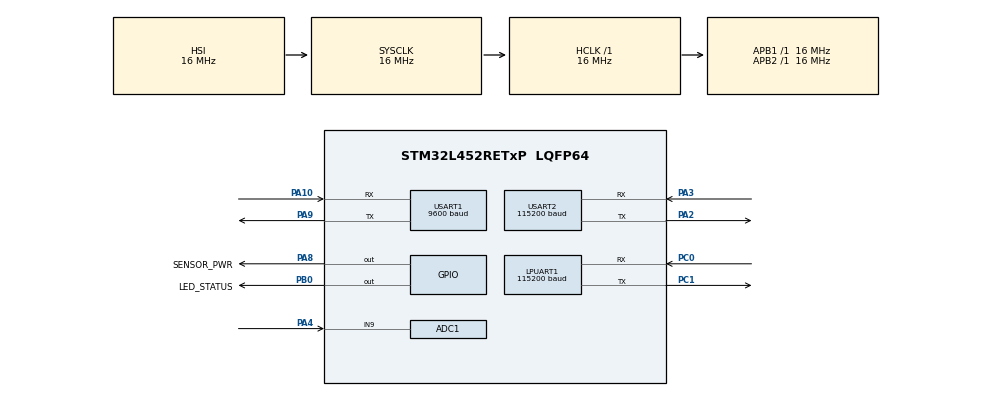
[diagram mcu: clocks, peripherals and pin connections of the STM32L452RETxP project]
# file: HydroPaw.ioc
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ADC1.Channel-1\#ChannelRegularConversion=ADC_CHANNEL_9
ADC1.NbrOfConversionFlag=1
ADC1.OffsetNumber-1\#ChannelRegularConversion=ADC_OFFSET_NONE
ADC1.Rank-1\#ChannelRegularConversion=1
ADC1.SamplingTime-1\#ChannelRegularConversion=ADC_SAMPLETIME_2CYCLES_5
ADC1.master=1
IWDG.Prescaler=IWDG_PRESCALER_64
IWDG.Reload=4095
LPUART1.BaudRate=115200
Mcu.Family=STM32L4
Mcu.Name=STM32L452RETxP
Mcu.Package=LQFP64
NVIC.PriorityGroup=NVIC_PRIORITYGROUP_4
NVIC.USART1_IRQn=true\:5\:0\:true\:false\:true\:true\:true\:true
NVIC.USART2_IRQn=true\:5\:0\:true\:false\:true\:true\:true\:true
PA10.Mode=Asynchronous
PA10.Signal=USART1_RX
PA2.Mode=Asynchronous
PA2.Signal=USART2_TX
PA3.Mode=Asynchronous
PA3.Signal=USART2_RX
PA4.Signal=ADCx_IN9
PA8.GPIO_Label=SENSOR_PWR
PA8.Signal=GPIO_Output
PA9.Mode=Asynchronous
PA9.Signal=USART1_TX
PB0.GPIO_Label=LED_STATUS
PB0.Signal=GPIO_Output
PC0.Mode=Asynchronous
PC0.Signal=LPUART1_RX
PC1.Mode=Asynchronous
PC1.Signal=LPUART1_TX
PC14-OSC32_IN\ (PC14).Mode=LSE-External-Oscillator
PC14-OSC32_IN\ (PC14).Signal=RCC_OSC32_IN
PC15-OSC32_OUT\ (PC15).Mode=LSE-External-Oscillator
PC15-OSC32_OUT\ (PC15).Signal=RCC_OSC32_OUT
ProjectManager.HeapSize=0x400
ProjectManager.StackSize=0x800
ProjectManager.TargetToolchain=STM32CubeIDE
RCC.AHBFreq_Value=16000000
RCC.APB1Freq_Value=16000000
RCC.APB1TimFreq_Value=16000000
RCC.APB2Freq_Value=16000000
RCC.APB2TimFreq_Value=16000000
RCC.CortexFreq_Value=16000000
RCC.HCLKFreq_Value=16000000
RCC.HSE_VALUE=8000000
RCC.HSI48_VALUE=48000000
RCC.HSI_VALUE=16000000
RCC.MSI_VALUE=4000000
RCC.SYSCLKFreq_VALUE=16000000
RCC.SYSCLKSource=RCC_SYSCLKSOURCE_HSI
RCC.USART2CLockSelection=RCC_USART2CLKSOURCE_HSI
RCC.VCOOutputFreq_Value=32000000
SH.ADCx_IN9.0=ADC1_IN9,IN9-Single-Ended
USART1.BaudRate=9600
USART1.VirtualMode-Asynchronous=VM_ASYNC
USART2.BaudRate=115200
USART2.VirtualMode-Asynchronous=VM_ASYNC
USART2.WakeUpMethod=UART_WAKEUPMETHOD_IDLELINE
VP_IWDG_VS_IWDG.Mode=IWDG_Activate
board=custom

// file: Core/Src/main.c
/* USER CODE BEGIN Header */
/**
  ******************************************************************************
  * @file           : main.c
  * @brief          : Main program body
  ******************************************************************************
  * HydroPaw ファームウェア エントリポイント。
  * CubeMX生成の初期化 + USER CODEセクションでアプリ層(App/)を駆動する。
  *
  * データフロー:
  *   USART1 RX ISR → rb_sensor → dgs2_feed → sm_on_sensor_line
  *   USART2 RX ISR → rb_ble    → ble_link_feed → sm_on_frame
  *   main loop     → sm_tick / IWDG refresh / STOP2移行
  *
  * CubeMXで再生成しても、アプリコードはすべてUSER CODEセクション内に
  * あるため保持される(Project Manager: Keep User Code = Yes)。
  ******************************************************************************
  */
/* USER CODE END Header */
#include "main.h"

/* USER CODE BEGIN Includes */
#include "app_config.h"
#include "ring_buffer.h"
#include "dgs2.h"
#include "ble_link.h"
#include "state_machine.h"
#include "power.h"
#include "log.h"
#include "bgapi.h"
/* USER CODE END Includes */

ADC_HandleTypeDef hadc1;

IWDG_HandleTypeDef hiwdg;

UART_HandleTypeDef hlpuart1;
UART_HandleTypeDef huart1;
UART_HandleTypeDef huart2;

/* USER CODE BEGIN PV */
static uint8_t       sensor_storage[256];
static uint8_t       ble_storage[256];
static ring_buffer_t rb_sensor;
static ring_buffer_t rb_ble;
static uint8_t       rx_byte_sensor;
static uint8_t       rx_byte_ble;

static dgs2_t     g_sensor;
static ble_link_t g_link;
static sm_t       g_sm;

/* AC02(BLE)用UART4 — USER CODEで管理 (docs/15追補・リワーク後の最終形)
 * リワーク後: DGS2はD8/D9(USART1)へ、A1/A2(UART4)はAC02専用。
 * AC02はBGAPI@9600bps(公式サンプル/TBGLib準拠)。
 * 注: DGS2単体検証(リワーク前)はビルドフラグ HYDROPAW_SENSOR_ON_UART4 で
 *     旧構成(UART4+SWAP=センサ)に切替可能。 */
UART_HandleTypeDef huart4;
static bgapi_decoder_t g_bgapi;
static uint8_t g_ble_conn;      /* BGAPI接続ハンドル(接続イベントで更新) */
static bool    g_ble_connected;
/* USER CODE END PV */

void SystemClock_Config(void);
static void MX_GPIO_Init(void);
static void MX_USART1_UART_Init(void);
static void MX_USART2_UART_Init(void);
static void MX_LPUART1_UART_Init(void);
static void MX_ADC1_Init(void);
static void MX_IWDG_Init(void);
/* USER CODE BEGIN PFP */
static void sensor_uart_tx(const uint8_t *data, size_t len);
static void ble_uart_tx(const uint8_t *data, size_t len);
static void debug_uart_tx(const uint8_t *data, size_t len);
#ifdef HYDROPAW_SIM_SENSOR
static void sim_tick(uint32_t now);
#endif
/* USER CODE END PFP */

/* USER CODE BEGIN 0 */
/* ---- 注入コールバック (App層はHAL非依存のまま保つ) ---- */
static void sensor_uart_tx(const uint8_t *data, size_t len)
{
#ifdef HYDROPAW_SENSOR_ON_UART4
    HAL_UART_Transmit(&huart4, (uint8_t *)data, (uint16_t)len, 100);
#else
    HAL_UART_Transmit(&huart1, (uint8_t *)data, (uint16_t)len, 100);
#endif
}

/** UART4の手動初期化。
 *  最終形(既定): AC02用 9600bps・スワップなし(AC02リーフは正しいクロス配線)。
 *  HYDROPAW_SENSOR_ON_UART4定義時: リワーク前のDGS2単体検証用にSWAP有効。 */
static void sensor_uart4_init(void)
{
    __HAL_RCC_UART4_CLK_ENABLE();
    __HAL_RCC_GPIOA_CLK_ENABLE();

    GPIO_InitTypeDef gpio = {0};
    gpio.Pin = GPIO_PIN_0 | GPIO_PIN_1;
    gpio.Mode = GPIO_MODE_AF_PP;
    gpio.Pull = GPIO_NOPULL;
    gpio.Speed = GPIO_SPEED_FREQ_LOW;
    gpio.Alternate = GPIO_AF8_UART4;
    HAL_GPIO_Init(GPIOA, &gpio);

    huart4.Instance = UART4;
    huart4.Init.BaudRate = 9600;               /* DGS2データシート: 9600 8N1 */
    huart4.Init.WordLength = UART_WORDLENGTH_8B;
    huart4.Init.StopBits = UART_STOPBITS_1;
    huart4.Init.Parity = UART_PARITY_NONE;
    huart4.Init.Mode = UART_MODE_TX_RX;
    huart4.Init.HwFlowCtl = UART_HWCONTROL_NONE;
    huart4.Init.OverSampling = UART_OVERSAMPLING_16;
#ifdef HYDROPAW_SENSOR_ON_UART4
    /* リワーク前のDGS2単体検証: TXD→A1/RXD→A2の逆向き配線をSWAPで救済 */
    huart4.AdvancedInit.AdvFeatureInit = UART_ADVFEATURE_SWAP_INIT;
    huart4.AdvancedInit.Swap = UART_ADVFEATURE_SWAP_ENABLE;
#endif
    if (HAL_UART_Init(&huart4) != HAL_OK) {
        Error_Handler();
    }

    HAL_NVIC_SetPriority(UART4_IRQn, 1, 0);
    HAL_NVIC_EnableIRQ(UART4_IRQn);
}

static void ble_uart_tx(const uint8_t *data, size_t len)
{
    /* 実送信を先に行う — 診断ログがBLE送信タイミングへ影響しないこと
     * (非侵襲性レビュー docs/13 §4 参照)。ログは送信完了後に出す。 */
#ifdef HYDROPAW_SENSOR_ON_UART4
    /* リワーク前検証モード: 従来どおりUSART2へ生HPP */
    HAL_UART_Transmit(&huart2, (uint8_t *)data, (uint16_t)len, 100);
#else
    /* 最終形: HPPフレームをBGAPI notifyに包んでAC02(UART4)へ。
     * 未接続時は送らない — クリティカルフレームはHPP側のARQが
     * 接続回復後に再送するため、ここで落としてよい (docs/18 §4)。 */
    if (!g_ble_connected) {
        return;
    }
    uint8_t frame[BGAPI_HEADER_SIZE + BGAPI_MAX_PAYLOAD];
    size_t n = bgapi_build_notify(g_ble_conn, BGAPI_NOTIFY_HANDLE,
                                  data, (uint8_t)len, frame);
    if (n == 0U) {
        return;
    }
    HAL_UART_Transmit(&huart4, frame, (uint16_t)n, 100);
#endif
#ifndef HYDROPAW_LOG_DISABLE
    /* 送信フレームの種別/SEQを可視化(EVT_ERRORはコードも) */
    if (len >= HPP_HEADER_SIZE && data[0] == HPP_SOF) {
        if (data[2] == HPP_EVT_ERROR && len >= HPP_HEADER_SIZE + 2U) {
            LOG("BLE tx EVT_ERROR code=%02X detail=%02X seq=%u",
                data[5], data[6], data[3]);
        } else {
            LOG("BLE tx type=%02X seq=%u len=%u",
                data[2], data[3], (unsigned)data[4]);
        }
    }
#endif
}

static void debug_uart_tx(const uint8_t *data, size_t len)
{
#ifdef HYDROPAW_SENSOR_ON_UART4
    /* リワーク前検証モード: USART2はBLEが使うためログはLPUART1(要AX02B) */
    HAL_UART_Transmit(&hlpuart1, (uint8_t *)data, (uint16_t)len, 20);
#else
    /* 最終形: USART2(D0/D1)は空いたのでログをここへ —
     * AZ01 USBリーフのシリアルモニタ(115200bps)で直接読める。
     * I2C線(PC0/PC1)との衝突も解消 (docs/15 B3対応)。 */
    HAL_UART_Transmit(&huart2, (uint8_t *)data, (uint16_t)len, 20);
#endif
}

#ifndef HYDROPAW_LOG_DISABLE
/* ---- 実機テスト用診断ログ (Debugビルドのみ / docs/13参照) ---- */

/** 起動理由(IWDGリセット・オプションバイト再ロード等)をログして旗をクリア */
static void log_reset_cause(void)
{
    LOG("reset cause:%s%s%s%s%s%s",
        __HAL_RCC_GET_FLAG(RCC_FLAG_IWDGRST) ? " IWDG" : "",
        __HAL_RCC_GET_FLAG(RCC_FLAG_WWDGRST) ? " WWDG" : "",
        __HAL_RCC_GET_FLAG(RCC_FLAG_OBLRST) ? " OPTBYTE" : "",
        __HAL_RCC_GET_FLAG(RCC_FLAG_SFTRST) ? " SOFT" : "",
        __HAL_RCC_GET_FLAG(RCC_FLAG_BORRST) ? " BOR" : "",
        __HAL_RCC_GET_FLAG(RCC_FLAG_PINRST) ? " PIN" : "");
    __HAL_RCC_CLEAR_RESET_FLAGS();
}
#endif

#ifdef HYDROPAW_SIM_SENSOR
/* =========================================================================
 * 擬似センサ駆動 (DGS2到着前の実機エンドツーエンド検証用)
 *
 * 目的: 物理センサなしで「初期化→WARMUP→READY→BREATH→ANALYZE→VALIDATE
 *       →REPORT→BLE送信」の一連を、実機上で実データと同じ経路
 *       (sm_on_sensor_line / sm_on_frame)を通して確認する。
 *
 * 実データ経路との違いはCSV行の供給元だけ(UART受信 → 本関数の合成行)。
 * BAP/状態機械/BLE層のコードは一切変更しない。ホスト先行検証は
 * Tests/sim_preview.c(同一スクリプト)で妥当性確認済み。
 *
 * ビルド時に HYDROPAW_SIM_SENSOR を定義した時のみ有効。未定義=通常FW。
 * ======================================================================= */
#include <stdio.h>

static const int32_t SIM_BREATH[] = {
    800, 1800, 3000, 4000, 4200, 4200, 4100, 4200, 4000, 3000, 1500, 700, 250, 100
};
#define SIM_BREATH_N   (int)(sizeof(SIM_BREATH) / sizeof(SIM_BREATH[0]))
#define SIM_BASE_PPB    1000
#define SIM_TEMP_C100   2500  /* 25.00 degC */
#define SIM_RH_BASE100  5000  /* 50.00 %RH  */

static void sim_make_line(char *out, size_t n, int32_t ppb, int rh100)
{
    /* DGS2 CSV(7列): SN, PPB, TEMP(C*100), RH(%*100), ADC_G, ADC_T, ADC_H */
    snprintf(out, n, "SIM000000001, %ld, %d, %d, 32000, 26000, 20000",
             (long)ppb, SIM_TEMP_C100, rh100);
}

/** メインループから毎回呼ぶ。1Hzで合成サンプルを実経路へ供給する。 */
static void sim_tick(uint32_t now)
{
    static uint32_t   next_ms   = 300;   /* 初回=センサ初期化行 */
    static bool       init_done = false;
    static bool       breath_started = false;
    static int        idx = 0;
    static int        ready_dwell = 0;
    static sm_state_t last = SM_BOOT;
    char line[DGS2_LINE_MAX];

    /* READY遷移(初回/自動再測定)を検出したらカーブを頭出しする */
    if (g_sm.state == SM_READY && last != SM_READY) {
        idx = 0; ready_dwell = 0; breath_started = false;
    }
    /* セッション完了(REPORT→IDLE)で結果を要約ログ */
    if (g_sm.state == SM_IDLE && last == SM_REPORT) {
        const bap_result_t *r = &g_sm.last_result;
        LOG("SIM done Q=%u C=%u peak=%ld rise=%u dur=%u flags=0x%02X",
            r->quality, r->confidence, (long)r->peak_ppb,
            r->rise_ds, r->duration_ds, r->flags);
    }
    last = g_sm.state;

    if (now < next_ms) {
        return;
    }
    next_ms = now + 1000U;  /* 1Hz */

    /* 1) センサ初期化: 最初の1行で SENSOR_INIT→IDLE、続けてCMD_BREATH注入 */
    if (!init_done) {
        sim_make_line(line, sizeof line, SIM_BASE_PPB, SIM_RH_BASE100);
        sm_on_sensor_line(&g_sm, line, now);
        if (g_sm.state == SM_IDLE) {
            init_done = true;
            hpp_frame_t f = {0};
            f.type = HPP_CMD_BREATH;
            f.len = 0;
            sm_on_frame(&g_sm, &f, now);
            LOG("SIM breath session start");
        }
        return;
    }

    /* 2) WARMUP: 静穏ベースライン(±20ppb)を供給しベースライン学習させる */
    if (g_sm.state == SM_WARMUP) {
        int32_t noise = ((now / 1000U) & 1U) ? 20 : -20;
        sim_make_line(line, sizeof line, SIM_BASE_PPB + noise, SIM_RH_BASE100);
        sm_on_sensor_line(&g_sm, line, now);
        return;
    }

    /* 3) READY/BREATH: 2秒静穏 → 合成呼気カーブ → 尾は微揺らぎで offset 待ち */
    if (g_sm.state == SM_READY || g_sm.state == SM_BREATH) {
        int32_t ppb = SIM_BASE_PPB;
        int     rh  = SIM_RH_BASE100;
        if (!breath_started) {
            if (ready_dwell < 2) {
                ready_dwell++;
            } else {
                breath_started = true;
            }
        }
        if (breath_started) {
            if (idx < SIM_BREATH_N) {
                int32_t d = SIM_BREATH[idx++];
                ppb = SIM_BASE_PPB + d;
                if (d > 1000) rh = SIM_RH_BASE100 + 1200; /* 呼気で湿度上昇 */
            } else {
                ppb = SIM_BASE_PPB + 50 + (((now / 1000U) & 1U) ? 10 : -10);
            }
        }
        sim_make_line(line, sizeof line, ppb, rh);
        sm_on_sensor_line(&g_sm, line, now);
        return;
    }
    /* ANALYZE/VALIDATE/REPORT/IDLE: sm_tick() が進める(供給不要) */
}
#endif /* HYDROPAW_SIM_SENSOR */
/* USER CODE END 0 */

int main(void)
{

  /* MCU Configuration--------------------------------------------------------*/

  /* Reset of all peripherals, Initializes the Flash interface and the Systick. */
  HAL_Init();

  /* Configure the system clock */
  SystemClock_Config();

  /* USER CODE BEGIN SysInit */
  /* IWDGはStop/Standby中フリーズさせる(オプションバイト)。未設定なら
   * ここで書き換えてリセットするため、必ずIWDG起動前に実行する。 */
  power_option_bytes_ensure();
  /* USART2カーネルクロック=HSI16 (STOP2からのスタートビットWakeに必須)。
   * .iocにも設定済みだが、生成物(hal_msp)に依存しないよう明示する。 */
  __HAL_RCC_USART2_CONFIG(RCC_USART2CLKSOURCE_HSI);
  /* USER CODE END SysInit */

  /* Initialize all configured peripherals */
  MX_GPIO_Init();
  MX_USART1_UART_Init();
  MX_USART2_UART_Init();
  MX_LPUART1_UART_Init();
  MX_ADC1_Init();
  MX_IWDG_Init();
  /* USER CODE BEGIN 2 */
  log_init(debug_uart_tx);
  LOG("HydroPaw FW v%u.%u boot", FW_VERSION_MAJOR, FW_VERSION_MINOR);
#ifndef HYDROPAW_LOG_DISABLE
  log_reset_cause();
  LOG("optbytes: IWDG %s in stop",
      power_iwdg_frozen_in_stop() ? "FROZEN" : "RUNNING(!)");
#endif

  /* ADCは初回変換前にキャリブレーション必須(L4リファレンスマニュアル) */
  if (HAL_ADCEx_Calibration_Start(&hadc1, ADC_SINGLE_ENDED) != HAL_OK) {
      LOG("ADC calibration failed");
  }

  rb_init(&rb_sensor, sensor_storage, sizeof(sensor_storage));
  rb_init(&rb_ble, ble_storage, sizeof(ble_storage));

  HAL_GPIO_WritePin(SENSOR_PWR_GPIO_Port, SENSOR_PWR_Pin, GPIO_PIN_SET);
  HAL_Delay(100); /* DGS2電源安定待ち */

  dgs2_init(&g_sensor, sensor_uart_tx);
  ble_link_init(&g_link, ble_uart_tx);
  sm_init(&g_sm, &g_sensor, &g_link, power_read_battery_mv, HAL_GetTick());

  /* UART4初期化 (既定=AC02/BGAPI、フラグ時=DGS2単体検証) */
  sensor_uart4_init();

#ifndef HYDROPAW_SENSOR_ON_UART4
  /* AC02 WAKEUP (D7=PB12) をHIGHにして起こす (docs/15 B6) */
  GPIO_InitTypeDef wk = {0};
  wk.Pin = GPIO_PIN_12;
  wk.Mode = GPIO_MODE_OUTPUT_PP;
  wk.Pull = GPIO_NOPULL;
  wk.Speed = GPIO_SPEED_FREQ_LOW;
  HAL_GPIO_Init(GPIOB, &wk);
  HAL_GPIO_WritePin(GPIOB, GPIO_PIN_12, GPIO_PIN_SET);

  bgapi_decoder_init(&g_bgapi);
  /* AC02は先に起動済みの可能性があるため、boot evtを待たず
   * アドバタイズ開始を先行送信(重複してもrspが返るだけで無害) */
  HAL_Delay(200);
  {
    uint8_t adv[8];
    size_t n = bgapi_build_advertise(adv);
    HAL_UART_Transmit(&huart4, adv, (uint16_t)n, 100);
  }
#endif

  /* 1バイト割込み受信を開始 (RxCpltCallbackで再アーム) */
#ifdef HYDROPAW_SENSOR_ON_UART4
  HAL_UART_Receive_IT(&huart4, &rx_byte_sensor, 1);
  HAL_UART_Receive_IT(&huart2, &rx_byte_ble, 1);
#else
  HAL_UART_Receive_IT(&huart1, &rx_byte_sensor, 1);
  HAL_UART_Receive_IT(&huart4, &rx_byte_ble, 1);
#endif

  sm_state_t logged_state = g_sm.state;
  /* USER CODE END 2 */

  /* Infinite loop */
  /* USER CODE BEGIN WHILE */
  while (1)
  {
    uint32_t now = HAL_GetTick();
    uint8_t  b;

    /* センサ受信処理 */
    char line[DGS2_LINE_MAX];
    while (rb_pop(&rb_sensor, &b)) {
        if (dgs2_feed(&g_sensor, b, line, sizeof(line))) {
#ifndef HYDROPAW_LOG_DISABLE
            /* 受信CSVの列数とパース可否(ロット差・配線不良の一次切り分け) */
            int cols = 1;
            for (const char *c = line; *c != '\0'; c++) {
                if (*c == ',') cols++;
            }
            dgs2_sample_t dbg;
            LOG("DGS2 rx cols=%d parse=%s [%s]", cols,
                dgs2_parse_line(line, &dbg) == APP_OK ? "OK" : "FAIL", line);
#endif
            sm_on_sensor_line(&g_sm, line, now);
        }
    }

    /* BLE受信処理 */
    hpp_frame_t frame;
#ifdef HYDROPAW_SENSOR_ON_UART4
    while (rb_pop(&rb_ble, &b)) {
        if (ble_link_feed(&g_link, b, &frame)) {
            sm_on_frame(&g_sm, &frame, now);
        }
    }
#else
    /* BGAPIバイト列 → イベント解釈 → 書き込みペイロードをHPPへ */
    while (rb_pop(&rb_ble, &b)) {
        const uint8_t *wdata = NULL;
        uint8_t wlen = 0;
        uint8_t conn = 0;
        switch (bgapi_feed(&g_bgapi, b, &wdata, &wlen, &conn)) {
        case BGAPI_RX_BOOT:
        case BGAPI_RX_DISCONNECTED: {
            g_ble_connected = false;
            uint8_t adv[8];
            size_t n = bgapi_build_advertise(adv);
            HAL_UART_Transmit(&huart4, adv, (uint16_t)n, 100);
            LOG("BLE %s -> advertise",
                g_ble_connected ? "boot" : "boot/disc");
            break;
        }
        case BGAPI_RX_CONNECTED:
            g_ble_conn = conn;
            g_ble_connected = true;
            LOG("BLE connected handle=%u", conn);
            break;
        case BGAPI_RX_WRITE:
            for (uint8_t i = 0; i < wlen; i++) {
                if (ble_link_feed(&g_link, wdata[i], &frame)) {
                    sm_on_frame(&g_sm, &frame, now);
                }
            }
            break;
        default:
            break;
        }
    }
#endif

#ifdef HYDROPAW_SIM_SENSOR
    /* 擬似センサ: 合成サンプルを実経路(sm_on_sensor_line/sm_on_frame)へ供給。
     * DGS2到着前の実機エンドツーエンド検証用。通常FWでは無効。 */
    sim_tick(now);
#endif

#ifdef HYDROPAW_SIM_SENSOR
    /* 擬似センサ: 合成サンプルを実経路(sm_on_sensor_line/sm_on_frame)へ供給。
     * DGS2到着前の実機エンドツーエンド検証用。通常FWでは無効。 */
    sim_tick(now);
#endif

    sm_tick(&g_sm, now);
    HAL_IWDG_Refresh(&hiwdg);

    /* 状態遷移ログ (デバッグ用, LPUART1) */
    if (g_sm.state != logged_state) {
        LOG("state %d -> %d", (int)logged_state, (int)g_sm.state);
#ifndef HYDROPAW_LOG_DISABLE
        /* センサ初期化の成否を明示 */
        if (logged_state == SM_SENSOR_INIT) {
            if (g_sm.state == SM_IDLE) {
                LOG("sensor init OK sn=%s", g_sm.sensor_sn);
                /* 素性確認: EEPROMダンプ('e')を要求。応答行は非CSVのため
                 * 状態機械はparse失敗として無視し、デバッグログにのみ
                 * 生テキストが流れる(ガス種・感度・工場較正値の確認用)。 */
                dgs2_cmd_eeprom(&g_sensor);
            } else if (g_sm.state == SM_ERROR) {
                LOG("sensor init FAILED (no response)");
            }
        }
#endif
        logged_state = g_sm.state;
    }

    /* 状態LED: 測定中(ラボ/呼気)=点灯, ERROR=点滅, その他=消灯 */
    if (g_sm.state == SM_MEASURING || sm_in_breath_session(&g_sm)) {
        HAL_GPIO_WritePin(LED_STATUS_GPIO_Port, LED_STATUS_Pin, GPIO_PIN_SET);
    } else if (g_sm.state == SM_ERROR) {
        HAL_GPIO_WritePin(LED_STATUS_GPIO_Port, LED_STATUS_Pin,
                          ((now / 250U) & 1U) ? GPIO_PIN_SET : GPIO_PIN_RESET);
    } else {
        HAL_GPIO_WritePin(LED_STATUS_GPIO_Port, LED_STATUS_Pin, GPIO_PIN_RESET);
    }

    /* SLEEP要求: IWDGがStop中フリーズ設定の時だけSTOP2へ。
     * 未設定のままSTOP2に入ると約8.2秒毎にIWDGリセットが発生するため、
     * その場合はRunのまま待機する(消費は増えるが誤動作しない)。
     * どちらの場合もUSART2 RX(BLEコマンド)で通常動作へ復帰する。 */
    if (g_sm.sleep_requested) {
        g_sm.sleep_requested = false;
        if (power_iwdg_frozen_in_stop()) {
            LOG("enter STOP2");
            power_enter_stop2();
            /* ここに来た時点でUSART2 RXにより復帰済み。受信ISRは継続動作。
             * IWDGはStop中停止していたため即リフレッシュして再開する。 */
            HAL_IWDG_Refresh(&hiwdg);
            LOG("wake from STOP2");
        } else {
            LOG("STOP2 skipped: IWDG option bytes not frozen");
        }
    }
    /* USER CODE END WHILE */

  }
}

void SystemClock_Config(void)
{
  RCC_OscInitTypeDef RCC_OscInitStruct = {0};
  RCC_ClkInitTypeDef RCC_ClkInitStruct = {0};

  /** Configure the main internal regulator output voltage
  */
  if (HAL_PWREx_ControlVoltageScaling(PWR_REGULATOR_VOLTAGE_SCALE1) != HAL_OK)
  {
    Error_Handler();
  }

  /** Configure LSE Drive Capability
  */
  HAL_PWR_EnableBkUpAccess();
  __HAL_RCC_LSEDRIVE_CONFIG(RCC_LSEDRIVE_LOW);

  /** Initializes the RCC Oscillators according to the specified parameters
  * in the RCC_OscInitTypeDef structure.
  */
  RCC_OscInitStruct.OscillatorType = RCC_OSCILLATORTYPE_HSI|RCC_OSCILLATORTYPE_LSI
                              |RCC_OSCILLATORTYPE_LSE|RCC_OSCILLATORTYPE_MSI;
  RCC_OscInitStruct.LSEState = RCC_LSE_ON;
  RCC_OscInitStruct.HSIState = RCC_HSI_ON;
  RCC_OscInitStruct.HSICalibrationValue = 64;
  RCC_OscInitStruct.LSIState = RCC_LSI_ON;
  RCC_OscInitStruct.MSIState = RCC_MSI_ON;
  RCC_OscInitStruct.MSICalibrationValue = 0;
  RCC_OscInitStruct.MSIClockRange = RCC_MSIRANGE_6;
  RCC_OscInitStruct.PLL.PLLState = RCC_PLL_NONE;
  if (HAL_RCC_OscConfig(&RCC_OscInitStruct) != HAL_OK)
  {
    Error_Handler();
  }

  /** Initializes the CPU, AHB and APB buses clocks
  */
  RCC_ClkInitStruct.ClockType = RCC_CLOCKTYPE_HCLK|RCC_CLOCKTYPE_SYSCLK
                              |RCC_CLOCKTYPE_PCLK1|RCC_CLOCKTYPE_PCLK2;
  RCC_ClkInitStruct.SYSCLKSource = RCC_SYSCLKSOURCE_HSI;
  RCC_ClkInitStruct.AHBCLKDivider = RCC_SYSCLK_DIV1;
  RCC_ClkInitStruct.APB1CLKDivider = RCC_HCLK_DIV1;
  RCC_ClkInitStruct.APB2CLKDivider = RCC_HCLK_DIV1;

  if (HAL_RCC_ClockConfig(&RCC_ClkInitStruct, FLASH_LATENCY_0) != HAL_OK)
  {
    Error_Handler();
  }

  /** Enable MSI Auto calibration
  */
  HAL_RCCEx_EnableMSIPLLMode();
}

static void MX_ADC1_Init(void)
{

  ADC_ChannelConfTypeDef sConfig = {0};

  /** Common config
  */
  hadc1.Instance = ADC1;
  hadc1.Init.ClockPrescaler = ADC_CLOCK_ASYNC_DIV1;
  hadc1.Init.Resolution = ADC_RESOLUTION_12B;
  hadc1.Init.DataAlign = ADC_DATAALIGN_RIGHT;
  hadc1.Init.ScanConvMode = ADC_SCAN_DISABLE;
  hadc1.Init.EOCSelection = ADC_EOC_SINGLE_CONV;
  hadc1.Init.LowPowerAutoWait = DISABLE;
  hadc1.Init.ContinuousConvMode = DISABLE;
  hadc1.Init.NbrOfConversion = 1;
  hadc1.Init.DiscontinuousConvMode = DISABLE;
  hadc1.Init.ExternalTrigConv = ADC_SOFTWARE_START;
  hadc1.Init.ExternalTrigConvEdge = ADC_EXTERNALTRIGCONVEDGE_NONE;
  hadc1.Init.DMAContinuousRequests = DISABLE;
  hadc1.Init.Overrun = ADC_OVR_DATA_PRESERVED;
  hadc1.Init.OversamplingMode = DISABLE;
  if (HAL_ADC_Init(&hadc1) != HAL_OK)
  {
    Error_Handler();
  }

  /** Configure Regular Channel
  */
  sConfig.Channel = ADC_CHANNEL_9;
  sConfig.Rank = ADC_REGULAR_RANK_1;
  sConfig.SamplingTime = ADC_SAMPLETIME_2CYCLES_5;
  sConfig.SingleDiff = ADC_SINGLE_ENDED;
  sConfig.OffsetNumber = ADC_OFFSET_NONE;
  sConfig.Offset = 0;
  if (HAL_ADC_ConfigChannel(&hadc1, &sConfig) != HAL_OK)
  {
    Error_Handler();
  }

}

static void MX_IWDG_Init(void)
{

  hiwdg.Instance = IWDG;
  hiwdg.Init.Prescaler = IWDG_PRESCALER_64;
  hiwdg.Init.Window = 4095;
  hiwdg.Init.Reload = 4095;
  if (HAL_IWDG_Init(&hiwdg) != HAL_OK)
  {
    Error_Handler();
  }

}

static void MX_LPUART1_UART_Init(void)
{

  hlpuart1.Instance = LPUART1;
  hlpuart1.Init.BaudRate = 115200;
  hlpuart1.Init.WordLength = UART_WORDLENGTH_7B;
  hlpuart1.Init.StopBits = UART_STOPBITS_1;
  hlpuart1.Init.Parity = UART_PARITY_NONE;
  hlpuart1.Init.Mode = UART_MODE_TX_RX;
  hlpuart1.Init.HwFlowCtl = UART_HWCONTROL_NONE;
  hlpuart1.Init.OneBitSampling = UART_ONE_BIT_SAMPLE_DISABLE;
  hlpuart1.AdvancedInit.AdvFeatureInit = UART_ADVFEATURE_NO_INIT;
  if (HAL_UART_Init(&hlpuart1) != HAL_OK)
  {
    Error_Handler();
  }

}

static void MX_USART1_UART_Init(void)
{

  huart1.Instance = USART1;
  huart1.Init.BaudRate = 9600;
  huart1.Init.WordLength = UART_WORDLENGTH_8B;
  huart1.Init.StopBits = UART_STOPBITS_1;
  huart1.Init.Parity = UART_PARITY_NONE;
  huart1.Init.Mode = UART_MODE_TX_RX;
  huart1.Init.HwFlowCtl = UART_HWCONTROL_NONE;
  huart1.Init.OverSampling = UART_OVERSAMPLING_16;
  huart1.Init.OneBitSampling = UART_ONE_BIT_SAMPLE_DISABLE;
  huart1.AdvancedInit.AdvFeatureInit = UART_ADVFEATURE_NO_INIT;
  if (HAL_UART_Init(&huart1) != HAL_OK)
  {
    Error_Handler();
  }

}

static void MX_USART2_UART_Init(void)
{

  huart2.Instance = USART2;
  huart2.Init.BaudRate = 115200;
  huart2.Init.WordLength = UART_WORDLENGTH_8B;
  huart2.Init.StopBits = UART_STOPBITS_1;
  huart2.Init.Parity = UART_PARITY_NONE;
  huart2.Init.Mode = UART_MODE_TX_RX;
  huart2.Init.HwFlowCtl = UART_HWCONTROL_NONE;
  huart2.Init.OverSampling = UART_OVERSAMPLING_16;
  huart2.Init.OneBitSampling = UART_ONE_BIT_SAMPLE_DISABLE;
  huart2.AdvancedInit.AdvFeatureInit = UART_ADVFEATURE_NO_INIT;
  if (HAL_UART_Init(&huart2) != HAL_OK)
  {
    Error_Handler();
  }

}

static void MX_GPIO_Init(void)
{
  GPIO_InitTypeDef GPIO_InitStruct = {0};

  /* GPIO Ports Clock Enable */
  __HAL_RCC_GPIOC_CLK_ENABLE();
  __HAL_RCC_GPIOA_CLK_ENABLE();
  __HAL_RCC_GPIOB_CLK_ENABLE();

  /*Configure GPIO pin Output Level */
  HAL_GPIO_WritePin(LED_STATUS_GPIO_Port, LED_STATUS_Pin, GPIO_PIN_RESET);

  /*Configure GPIO pin Output Level */
  HAL_GPIO_WritePin(SENSOR_PWR_GPIO_Port, SENSOR_PWR_Pin, GPIO_PIN_RESET);

  /*Configure GPIO pin : LED_STATUS_Pin */
  GPIO_InitStruct.Pin = LED_STATUS_Pin;
  GPIO_InitStruct.Mode = GPIO_MODE_OUTPUT_PP;
  GPIO_InitStruct.Pull = GPIO_NOPULL;
  GPIO_InitStruct.Speed = GPIO_SPEED_FREQ_LOW;
  HAL_GPIO_Init(LED_STATUS_GPIO_Port, &GPIO_InitStruct);

  /*Configure GPIO pin : SENSOR_PWR_Pin */
  GPIO_InitStruct.Pin = SENSOR_PWR_Pin;
  GPIO_InitStruct.Mode = GPIO_MODE_OUTPUT_PP;
  GPIO_InitStruct.Pull = GPIO_NOPULL;
  GPIO_InitStruct.Speed = GPIO_SPEED_FREQ_LOW;
  HAL_GPIO_Init(SENSOR_PWR_GPIO_Port, &GPIO_InitStruct);

}

/* USER CODE BEGIN 4 */

/**
  * @brief UART受信完了コールバック。ISRコンテキスト — バッファ格納と再アームのみ。
  */
/* モード別のUART役割: 既定=センサUSART1/BLE UART4、
 * HYDROPAW_SENSOR_ON_UART4=センサUART4/BLE USART2 (リワーク前検証) */
#ifdef HYDROPAW_SENSOR_ON_UART4
#define SENSOR_UART_INSTANCE  UART4
#define SENSOR_UART_HANDLE    huart4
#define BLE_UART_INSTANCE     USART2
#define BLE_UART_HANDLE       huart2
#else
#define SENSOR_UART_INSTANCE  USART1
#define SENSOR_UART_HANDLE    huart1
#define BLE_UART_INSTANCE     UART4
#define BLE_UART_HANDLE       huart4
#endif

void HAL_UART_RxCpltCallback(UART_HandleTypeDef *huart)
{
    if (huart->Instance == SENSOR_UART_INSTANCE) {
        (void)rb_push(&rb_sensor, rx_byte_sensor);
        HAL_UART_Receive_IT(&SENSOR_UART_HANDLE, &rx_byte_sensor, 1);
    } else if (huart->Instance == BLE_UART_INSTANCE) {
        (void)rb_push(&rb_ble, rx_byte_ble);
        HAL_UART_Receive_IT(&BLE_UART_HANDLE, &rx_byte_ble, 1);
    }
}

/** UARTエラー(オーバーラン等)からの自動復旧 */
void HAL_UART_ErrorCallback(UART_HandleTypeDef *huart)
{
    if (huart->Instance == SENSOR_UART_INSTANCE) {
        HAL_UART_Receive_IT(&SENSOR_UART_HANDLE, &rx_byte_sensor, 1);
    } else if (huart->Instance == BLE_UART_INSTANCE) {
        HAL_UART_Receive_IT(&BLE_UART_HANDLE, &rx_byte_ble, 1);
    }
}
/* USER CODE END 4 */

void Error_Handler(void)
{
  /* USER CODE BEGIN Error_Handler_Debug */
  /* User can add his own implementation to report the HAL error return state */
  __disable_irq();
  while (1)
  {
    /* IWDGによる自動リセットを待つ */
  }
  /* USER CODE END Error_Handler_Debug */
}
#ifdef USE_FULL_ASSERT
/**
  * @brief  Reports the name of the source file and the source line number
  *         where the assert_param error has occurred.
  * @param  file: pointer to the source file name
  * @param  line: assert_param error line source number
  * @retval None
  */
void assert_failed(uint8_t *file, uint32_t line)
{
  /* USER CODE BEGIN 6 */
  (void)file;
  (void)line;
  /* USER CODE END 6 */
}
#endif /* USE_FULL_ASSERT */
